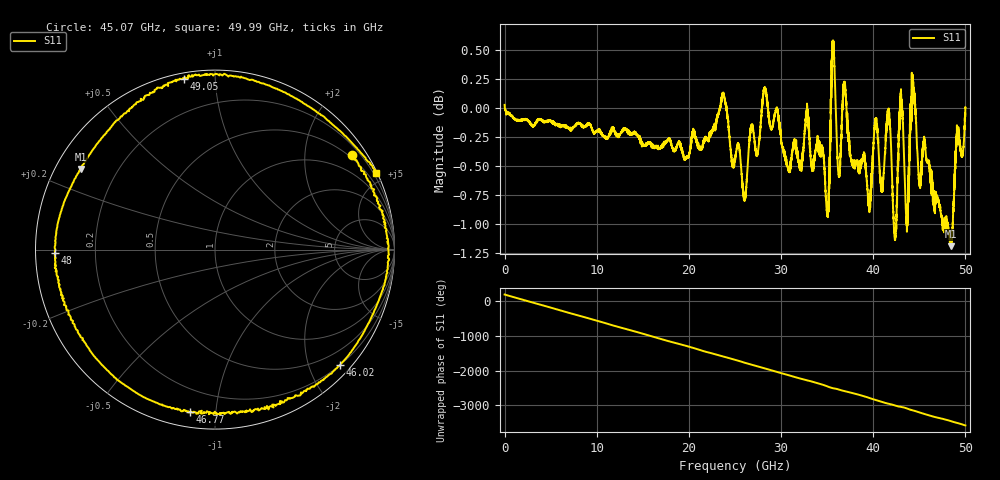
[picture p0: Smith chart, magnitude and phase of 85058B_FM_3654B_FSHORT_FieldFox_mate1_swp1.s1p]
!Created with skrf (http://scikit-rf.org).
# Hz S RI R 50.0
!freq ReS11 ImS11
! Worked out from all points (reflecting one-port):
!   10000 points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, 5.3 MHz to 50 GHz, reference 50 ohm
!   lowest |S11| = -1.2 dB at 48.42 GHz (marker M1), VSWR 14.61, Z = 3.69 + j13.8 ohm
!   phase of S11 starts at 180 deg and turns -3755 deg over the sweep
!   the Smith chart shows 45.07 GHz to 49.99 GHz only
!   S11 on the Smith chart (normalised r, x): 45.07 GHz: 0.42, +3.14; 46.02 GHz: 0.19, -2.54; 46.77 GHz: 0.08, -0.86; 48 GHz: 0.06, -0.01; 49.05 GHz: 0.03, +0.84; 49.99 GHz: 0.06, +4.41
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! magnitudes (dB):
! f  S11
! 5.3 MHz  0.0
! 6.255 GHz  -0.2
! 12.51 GHz  -0.2
! 18.76 GHz  -0.3
! 23.72 GHz  0.1
! 25.01 GHz  -0.4
! 26.08 GHz  -0.8
! 28.25 GHz  0.2
! 31.26 GHz  -0.4
! 35.01 GHz  -0.9
! 35.68 GHz  0.5
! 36.24 GHz  -0.6
! 36.88 GHz  0.2
! 37.51 GHz  -0.4
! 39.57 GHz  -0.9
! 41.66 GHz  -0.1
! 42.35 GHz  -1.1
! 43.03 GHz  0.1
! 43.76 GHz  -0.9
! 44.3 GHz  0.1
! 45.07 GHz  -0.7
! 46.02 GHz  -0.4
! 46.77 GHz  -0.8
! 48 GHz  -1.0
! 48.42 GHz  -1.2
! 49.05 GHz  -0.3
! 49.99 GHz  -0.1
! 50 GHz  0.0
